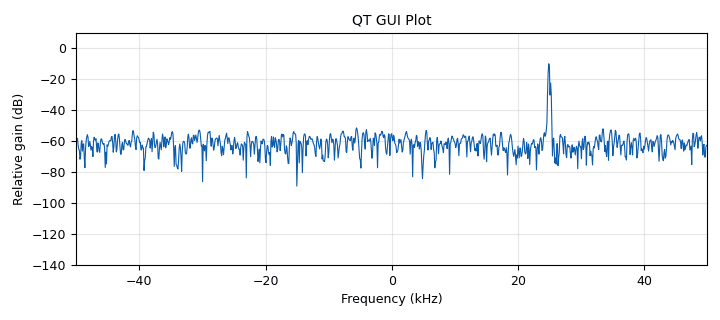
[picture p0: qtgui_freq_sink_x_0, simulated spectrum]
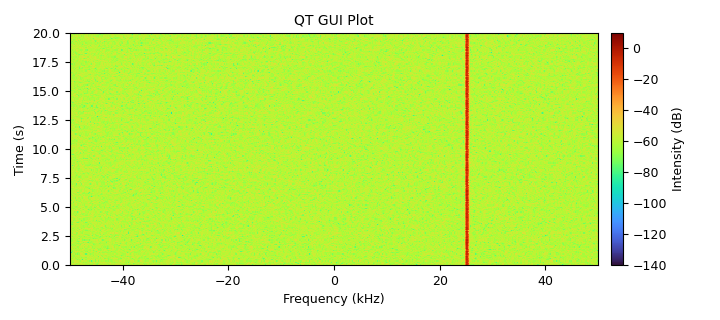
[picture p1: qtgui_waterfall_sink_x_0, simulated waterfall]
<?xml version='1.0' encoding='utf-8'?>
<flow_graph>
<block>
<key>import</key>
<param><key>id</key><value>import_0</value></param>
<param><key>import</key><value>import math</value></param>
</block>
<block>
<key>variable</key>
<param><key>id</key><value>samp_rate</value></param>
<param><key>value</key><value>100e3</value></param>
</block>
<block>
<key>ctrlport_monitor</key>
<param><key>id</key><value>ctrlport_monitor_0</value></param>
<param><key>en</key><value>True</value></param>
</block>
<block>
<key>qtgui_freq_sink_x</key>
<param><key>id</key><value>qtgui_freq_sink_x_0</value></param>
<param><key>type</key><value>complex</value></param>
<param><key>name</key><value>QT GUI Plot</value></param>
<param><key>fftsize</key><value>1024</value></param>
<param><key>wintype</key><value>firdes.WIN_BLACKMAN_hARRIS</value></param>
<param><key>fc</key><value>0</value></param>
<param><key>bw</key><value>samp_rate</value></param>
</block>
<block>
<key>channels_channel_model</key>
<param><key>id</key><value>channels_channel_model_0</value></param>
<param><key>noise_voltage</key><value>math.pow(10,n/10.0)</value></param>
<param><key>freq_offset</key><value>cfo</value></param>
<param><key>epsilon</key><value>fso</value></param>
<param><key>taps</key><value>1.0 + 1.0j</value></param>
<param><key>seed</key><value>0</value></param>
</block>
<block>
<key>analog_sig_source_x</key>
<param><key>id</key><value>analog_sig_source_x_0</value></param>
<param><key>type</key><value>complex</value></param>
<param><key>samp_rate</key><value>samp_rate</value></param>
<param><key>waveform</key><value>analog.GR_COS_WAVE</value></param>
<param><key>freq</key><value>samp_rate/4</value></param>
<param><key>amp</key><value>math.pow(10,amp/10)</value></param>
<param><key>offset</key><value>0</value></param>
</block>
<block>
<key>gr_throttle</key>
<param><key>id</key><value>gr_throttle_0</value></param>
<param><key>type</key><value>complex</value></param>
<param><key>samples_per_second</key><value>samp_rate</value></param>
<param><key>vlen</key><value>1</value></param>
</block>
<block>
<key>qtgui_waterfall_sink_x</key>
<param><key>id</key><value>qtgui_waterfall_sink_x_0</value></param>
<param><key>type</key><value>complex</value></param>
<param><key>name</key><value>QT GUI Plot</value></param>
<param><key>fftsize</key><value>1024</value></param>
<param><key>wintype</key><value>firdes.WIN_BLACKMAN_hARRIS</value></param>
<param><key>fc</key><value>0</value></param>
<param><key>bw</key><value>samp_rate</value></param>
</block>
<block>
<key>variable_qtgui_range</key>
<param><key>id</key><value>amp</value></param>
<param><key>label</key><value>Sine Amplitude (dB)</value></param>
<param><key>value</key><value>0</value></param>
<param><key>start</key><value>-100</value></param>
<param><key>stop</key><value>100</value></param>
<param><key>step</key><value>1</value></param>
<param><key>orient</key><value>Qt.Horizontal</value></param>
</block>
<block>
<key>variable_qtgui_range</key>
<param><key>id</key><value>fso</value></param>
<param><key>label</key><value>Sampling Frequency Relative Offset</value></param>
<param><key>value</key><value>1.0</value></param>
<param><key>start</key><value>0.9</value></param>
<param><key>stop</key><value>1.1</value></param>
<param><key>step</key><value>.001</value></param>
<param><key>orient</key><value>Qt.Horizontal</value></param>
</block>
<block>
<key>variable_qtgui_range</key>
<param><key>id</key><value>n</value></param>
<param><key>label</key><value>Noise Level (dB)</value></param>
<param><key>value</key><value>-12</value></param>
<param><key>start</key><value>-30</value></param>
<param><key>stop</key><value>30</value></param>
<param><key>step</key><value>.5</value></param>
<param><key>orient</key><value>Qt.Horizontal</value></param>
</block>
<block>
<key>variable_qtgui_range</key>
<param><key>id</key><value>fD</value></param>
<param><key>label</key><value>Max Doppler Frequency (Hz)</value></param>
<param><key>value</key><value>125</value></param>
<param><key>start</key><value>0</value></param>
<param><key>stop</key><value>1000</value></param>
<param><key>step</key><value>1</value></param>
<param><key>orient</key><value>Qt.Horizontal</value></param>
</block>
<block>
<key>variable_qtgui_range</key>
<param><key>id</key><value>cfo</value></param>
<param><key>label</key><value>Frequency Offset</value></param>
<param><key>value</key><value>0</value></param>
<param><key>start</key><value>-20e3</value></param>
<param><key>stop</key><value>20e3</value></param>
<param><key>step</key><value>1</value></param>
<param><key>orient</key><value>Qt.Horizontal</value></param>
</block>
<block>
<key>variable_qtgui_range</key>
<param><key>id</key><value>K</value></param>
<param><key>label</key><value>K (Rician Factor)</value></param>
<param><key>value</key><value>4</value></param>
<param><key>start</key><value>0</value></param>
<param><key>stop</key><value>30</value></param>
<param><key>step</key><value>.1</value></param>
<param><key>orient</key><value>Qt.Horizontal</value></param>
</block>
<block>
<key>options</key>
<param><key>id</key><value>channel_tone_response</value></param>
<param><key>title</key><value>Channel Tone Response</value></param>
<param><key>generate_options</key><value>qt_gui</value></param>
<param><key>category</key><value>Custom</value></param>
<param><key>pre_hook</key><value>None</value></param>
<param><key>post_hook</key><value>None</value></param>
</block>
<block>
<key>channels_fading_model</key>
<param><key>id</key><value>channels_fading_model_0</value></param>
<param><key>N</key><value>8</value></param>
<param><key>fDTs</key><value>fD/samp_rate</value></param>
<param><key>LOS</key><value>True</value></param>
<param><key>K</key><value>K</value></param>
<param><key>seed</key><value>0</value></param>
</block>
<connection><source_block_id>channels_channel_model_0</source_block_id><sink_block_id>qtgui_waterfall_sink_x_0</sink_block_id><source_key>0</source_key><sink_key>0</sink_key></connection>
<connection><source_block_id>channels_channel_model_0</source_block_id><sink_block_id>qtgui_freq_sink_x_0</sink_block_id><source_key>0</source_key><sink_key>0</sink_key></connection>
<connection><source_block_id>channels_fading_model_0</source_block_id><sink_block_id>channels_channel_model_0</sink_block_id><source_key>0</source_key><sink_key>0</sink_key></connection>
<connection><source_block_id>gr_throttle_0</source_block_id><sink_block_id>channels_fading_model_0</sink_block_id><source_key>0</source_key><sink_key>0</sink_key></connection>
<connection><source_block_id>analog_sig_source_x_0</source_block_id><sink_block_id>gr_throttle_0</sink_block_id><source_key>0</source_key><sink_key>0</sink_key></connection>
</flow_graph>
